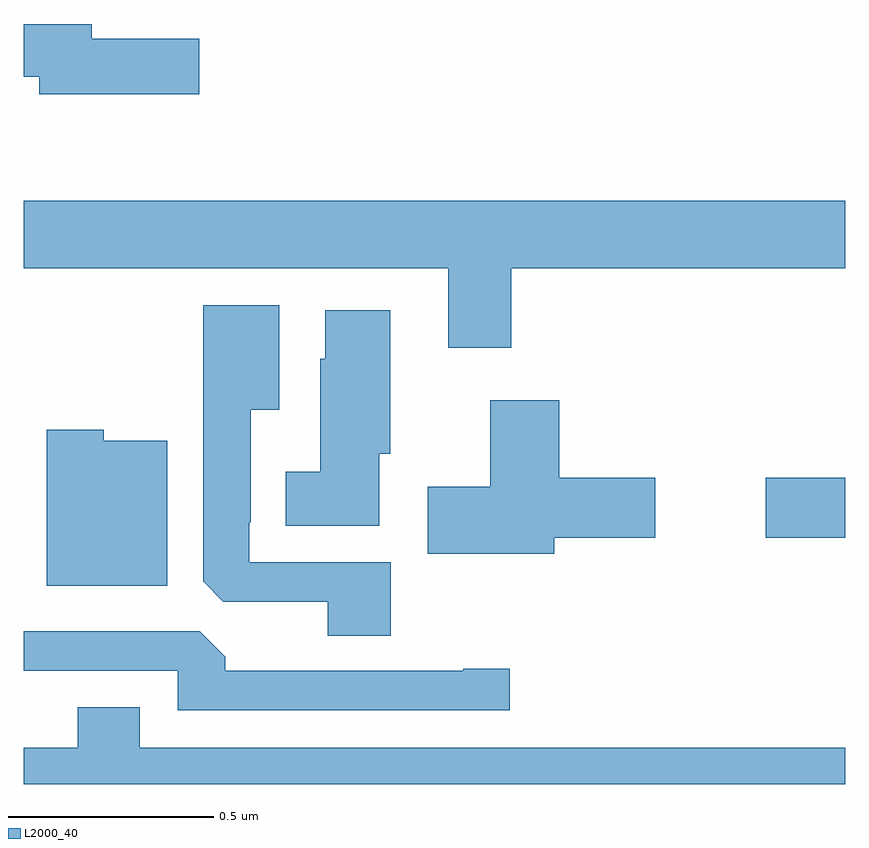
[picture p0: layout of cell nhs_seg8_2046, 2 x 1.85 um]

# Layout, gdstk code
import gdstk
lib = gdstk.Library(unit=1e-6, precision=1e-09)
def R(c, l, rs):  # rectangles x0, y0, x1, y1
    for r in rs: c.add(gdstk.rectangle(r[:2], r[2:], *l))
def P(c, l, *ps):  # polygons
    for p in ps: c.add(gdstk.Polygon(p, *l))
L2000_40 = (2000, 40)

nhs_seg8_2046 = lib.new_cell('nhs_seg8_2046')
R(nhs_seg8_2046, L2000_40, [(139.806,1126.499,140,1126.646)])
P(nhs_seg8_2046, L2000_40, [(138.427,1127.714),(138.166,1127.714),(138.166,1127.75),(138,1127.75),(138,1127.622),(138.038,1127.622),(138.038,1127.579),(138.427,1127.579)],
  [(139.187,1127.156),(140,1127.156),(140,1127.32),(138,1127.32),(138,1127.156),(139.034,1127.156),(139.034,1126.962),(139.187,1126.962)],
  [(138.893,1126.44),(138.549,1126.44),(138.549,1126.537),(138.553,1126.537),(138.553,1126.811),(138.622,1126.811),(138.622,1127.065),(138.437,1127.065),(138.437,1126.393),(138.486,1126.344),(138.74,1126.344),(138.74,1126.261),(138.893,1126.261)],
  [(138.865,1126.704),(138.892,1126.704),(138.892,1127.053),(138.734,1127.053),(138.734,1126.935),(138.722,1126.935),(138.722,1126.66),(138.638,1126.66),(138.638,1126.529),(138.865,1126.529)],
  [(139.291,1126.499),(139.537,1126.499),(139.537,1126.646),(139.304,1126.646),(139.304,1126.834),(139.136,1126.834),(139.136,1126.623),(138.984,1126.623),(138.984,1126.46),(139.291,1126.46)],
  [(138.349,1126.735),(138.195,1126.735),(138.195,1126.762),(138.056,1126.762),(138.056,1126.382),(138.349,1126.382)],
  [(139.183,1126.181),(139.07,1126.181),(139.07,1126.176),(138.491,1126.176),(138.491,1126.21),(138.429,1126.272),(138,1126.272),(138,1126.176),(138.375,1126.176),(138.375,1126.08),(139.183,1126.08)],
  [(140,1125.988),(138.283,1125.988),(138.283,1126.087),(138.131,1126.087),(138.131,1125.988),(138,1125.988),(138,1125.9),(140,1125.9)])

lib.write_gds('nhs_seg8_2046.gds')
